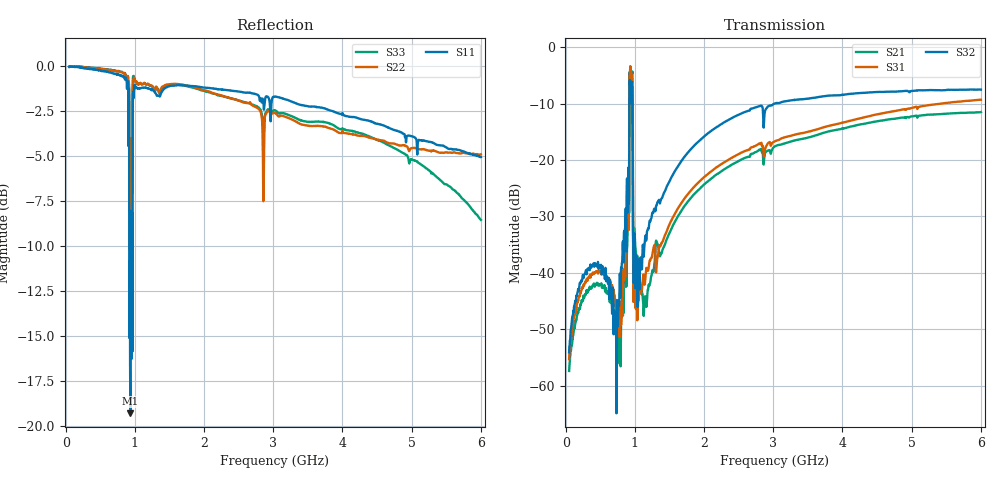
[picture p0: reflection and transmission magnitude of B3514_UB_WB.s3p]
! Matrix data file written by TouchstoneData, EPCOS AG
! FILENAME: "LQ71A_UB_2_WB.s3p_newformat"
! COMMENT: "(LQ71A_UB_2_WB.s3p) EPCOS AG 18.03.2009 15:2"
! INFO: nport=3, nfreq=1601
! DATE: "Thu Apr  2 14:33:28 2009"
! USER: "Michael Schemies"
! port | pin | signal
!  1  |  6  |  input
!  2  |  3  |  output
!  3  |  4  |  output
# MHZ S MA R 50
! freq  magS11 angS11  magS12 angS12  magS13 angS13  ...
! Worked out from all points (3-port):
!   1601 points, 50 MHz to 6 GHz, reference 50 ohm
!   strongest paths, dB at 50 MHz, 1.538 GHz, 3.025 GHz, 4.513 GHz, 6 GHz:
!     S32: -54.1, -22.9, -10.0, -7.9, -7.5
!     S31: -55.3, -30.5, -16.7, -11.9, -9.3
!     S21: -57.4, -32.0, -17.6, -13.1, -11.5
!   lowest |S11| = -19.3 dB at 935.1 MHz (marker M1), VSWR 1.24, Z = 61.5 - j3.78 ohm
!   |S11| at or under -10 dB: 918.8 MHz to 939.4 MHz (20.67 MHz wide, 2.22 % of centre); 948.1 MHz to 958.3 MHz (10.18 MHz wide, 1.07 % of centre); 961.9895 MHz to 966.5136 MHz (4.524 MHz wide, 0.469 % of centre)
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50  0.9948 -6.3  0.001278 85.1  0.001749 85.0
    0.001349 86.4  0.9948 -3.8  0.002091 85.2
    0.001713 86.6  0.001968 87.0  0.9958 -3.7
425.5938  0.9782 -51.4  0.007812 50.8  0.01021 50.5
          0.00779 51.1  0.9851 -33.0  0.01203 59.6
          0.01016 50.7  0.01205 59.6  0.9869 -33.3
771.4375  0.9452 -95.1  0.002521 86.7  0.003604 67.8
          0.002552 87.2  0.9659 -62.4  0.005133 163.3
          0.003585 67.3  0.005117 163.5  0.9671 -63.3
886.7188  0.8638 -127.9  0.01646 127.1  0.02736 144.4
          0.01644 127.1  0.9191 -88.8  0.06843 153.4
          0.02735 144.4  0.06857 153.4  0.9166 -91.4
935.0625  0.1086 -16.2  0.5589 -105.7  0.6783 75.4
          0.5594 -105.6  0.5818 -41.0  0.3789 -41.8
          0.6786 75.5  0.3791 -41.7  0.4511 -36.9
1031.75  0.8685 -88.7  0.01406 43.8  0.005036 92.1
         0.0141 43.9  0.8935 -57.1  0.0104 78.6
         0.005032 92.1  0.01043 78.8  0.8948 -58.6
1147.031  0.8711 -106.4  0.006159 89.9  0.008277 113.9
          0.006179 90.1  0.8937 -70.1  0.0199 162.5
          0.008265 114.0  0.01988 162.5  0.8941 -72.2
1745.75  0.8821 -144.8  0.04118 119.4  0.04819 119.2
         0.0412 119.5  0.882 -103.3  0.1122 149.0
         0.04802 119.3  0.1123 149.0  0.8796 -109.6
3025  0.8233 167.4  0.1325 57.3  0.147 57.7
      0.1322 57.4  0.7401 -158.4  0.318 86.8
      0.147 57.8  0.3174 87.0  0.7536 -171.9
6000  0.5586 64.7  0.265 -61.7  0.3424 -55.5
      0.2657 -61.5  0.5686 144.9  0.4209 -6.0
      0.3421 -55.5  0.4206 -6.2  0.374 108.6
